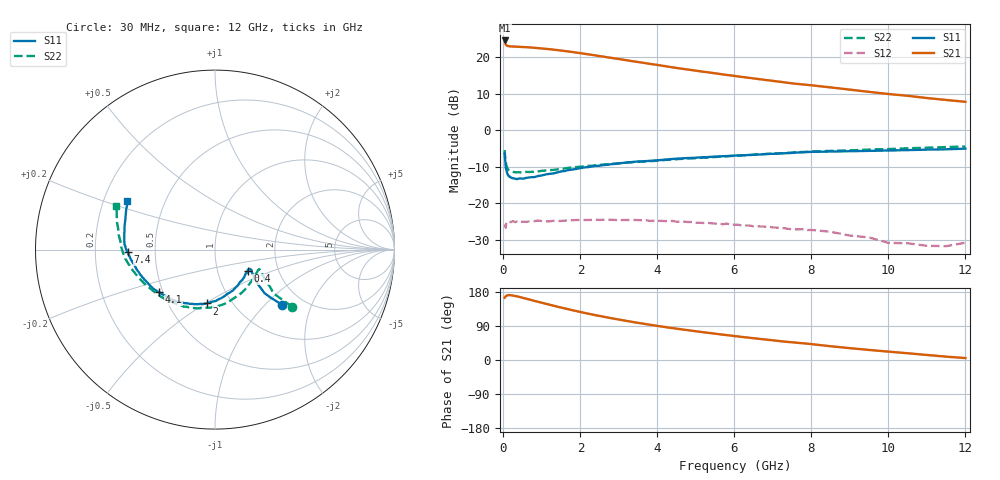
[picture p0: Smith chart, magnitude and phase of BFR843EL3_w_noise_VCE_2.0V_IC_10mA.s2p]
! Infineon Technologies  Discrete & RF Semiconductors
! BFR843EL3
! VCE =  2.0 V,  IC =  10 mA
! Common Emitter S-Parameters:  Aug 2013
# GHz  S  MA  R  50
!  f  S11  S21  S12  S22
! GHz  MAG  ANG  MAG  ANG  MAG  ANG  MAG  ANG
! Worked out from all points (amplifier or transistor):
!   103 points, 30 MHz to 12 GHz, reference 50 ohm
!   highest |S21| = 24.6 dB at 30 MHz (marker M1)
!   |S21| within 3 dB of that: start of sweep to 1.675 GHz
!   unconditionally stable (mu >= 1): 5.415 GHz to end of sweep
!   at 400 MHz: K = 1.00, MSG = 24.0 dB, |S12| = -25.2 dB
!   at 3.7 GHz: K = 0.86, MSG = 21.5 dB, |S12| = -24.6 dB
!   at 12 GHz: K = 3.11, MAG = 11.5 dB, |S12| = -30.8 dB
!   lowest NFmin = 0.89 dB at 450 MHz
!   S11 on the Smith chart (normalised r, x): 30 MHz: 1.57, -1.25; 400 MHz: 1.39, -0.35; 2 GHz: 0.77, -0.51; 4.1 GHz: 0.48, -0.27; 7.4 GHz: 0.35, -0.01; 12 GHz: 0.30, +0.23
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0.03  0.4815 -39.5  16.94 164.3  0.0478 32.2  0.535 -36.5
0.04  0.4036 -40.9  15.96 165.6  0.0498 23.4  0.4559 -36.7
0.06  0.3095 -39.0  14.92 168.1  0.0463 18.5  0.3701 -34.1
0.08  0.2786 -36.2  14.52 169.8  0.0545 13.5  0.327 -31.4
0.12  0.2436 -31.9  14.23 171.0  0.0545 8.8  0.2929 -26.5
0.2  0.224 -28.8  14.03 170.8  0.0555 5.1  0.2748 -24.1
0.4  0.218 -33.8  13.86 166.7  0.055 3.4  0.266 -28.2
0.7  0.2269 -47.8  13.59 158.9  0.0566 0.9  0.2686 -40.1
1.2  0.2531 -71.1  12.86 145.8  0.0566 2.0  0.2849 -61.2
1.6  0.2772 -85.7  12.14 136.0  0.0579 0.8  0.3006 -75.4
2  0.3033 -98.6  11.35 126.7  0.0588 -0.1  0.3173 -89.1
2.1  0.3098 -102.0  11.14 124.4  0.0591 -0.7  0.3208 -92.3
2.6  0.3341 -115.4  10.17 114.2  0.0596 -2.1  0.3395 -105.4
3.1  0.3568 -125.7  9.266 104.9  0.0591 -4.1  0.3558 -116.5
3.5  0.3732 -133.5  8.579 97.9  0.0588 -5.4  0.37 -124.5
4.1  0.3919 -142.7  7.68 88.5  0.0575 -7.8  0.3864 -133.7
5.1  0.424 -156.0  6.423 74.5  0.0541 -10.3  0.4177 -147.9
6.1  0.452 -166.6  5.449 62.1  0.051 -12.5  0.4495 -158.8
7.4  0.4861 -178.3  4.451 47.5  0.0446 -13.0  0.491 -171.3
8.5  0.5111 171.5  3.857 36.3  0.0407 -14.7  0.5223 178.5
10.5  0.5347 158.4  2.96 17.8  0.0284 -0.9  0.5663 164.6
12  0.5605 151.4  2.449 5.1  0.0289 27.5  0.5996 156.3
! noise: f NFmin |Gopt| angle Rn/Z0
0.45  0.89  0.06  61  0.12
0.9  0.91  0.07  70  0.12
1.5  0.93  0.08  78  0.12
1.9  0.95  0.08  82  0.12
2.4  0.96  0.09  94  0.12
3.5  0.99  0.11  109  0.11
5.5  1.05  0.17  142  0.11
8  1.12  0.28  177  0.07
10  1.17  0.4  212  0.06
